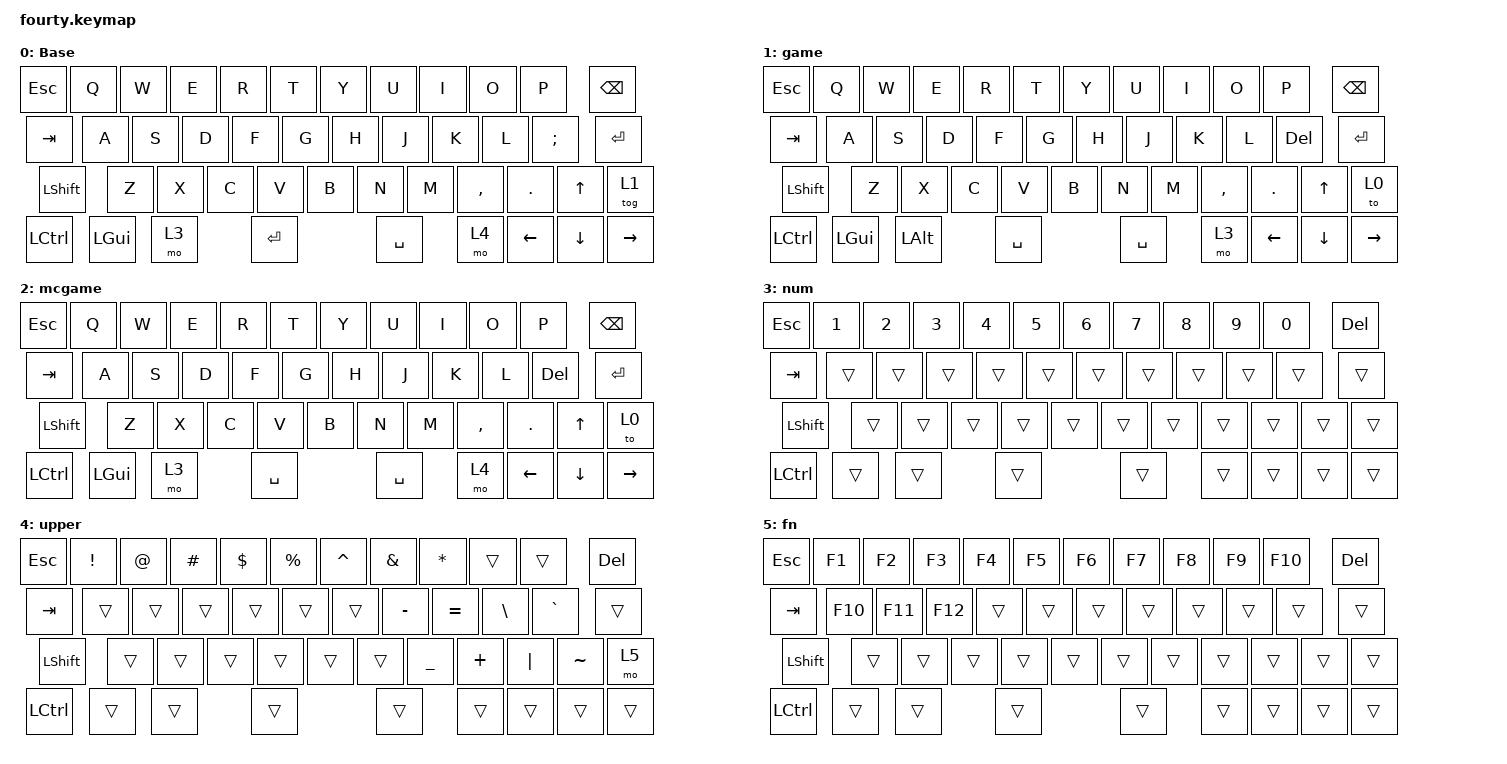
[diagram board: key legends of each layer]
#include <behaviors.dtsi>
#include <dt-bindings/zmk/keys.h>

/ {
    combos {
        compatible = "zmk,combos";

        slash-questionmark {
            bindings = <&kp SLASH>;
            key-positions = <33 32>;
            layers = <0 1 2>;
        };

        par1 {
            bindings = <&kp LEFT_PARENTHESIS>;
            key-positions = <3 4>;
            layers = <0 1>;
        };

        par2 {
            bindings = <&kp RIGHT_PARENTHESIS>;
            key-positions = <7 8>;
            layers = <0 1>;
        };

        bracket1 {
            bindings = <&kp LEFT_BRACKET>;
            key-positions = <16 15>;
            layers = <0 1>;
        };

        bracket2 {
            bindings = <&kp RIGHT_BRACKET>;
            key-positions = <19 20>;
            layers = <0 1>;
        };

        bracket3 {
            bindings = <&kp LEFT_BRACE>;
            key-positions = <28 27>;
            layers = <0>;
        };

        bracket4 {
            bindings = <&kp RIGHT_BRACE>;
            key-positions = <30 31>;
            layers = <0 1>;
        };

        quotes {
            bindings = <&kp SQT>;
            key-positions = <21 22>;
            layers = <0 1 2>;
        };

        mc-game {
            bindings = <&to 2>;
            key-positions = <33 35>;
            layers = <0>;
        };
    };

    keymap {
        compatible = "zmk,keymap";

        base {
            display-name = "Base";
            bindings = <
&kp ESC    &kp Q     &kp W  &kp E  &kp R      &kp T  &kp Y  &kp U      &kp I      &kp O     &kp P     &kp BACKSPACE
&kp TAB    &kp A     &kp S  &kp D  &kp F      &kp G  &kp H  &kp J      &kp K      &kp L     &kp SEMI  &kp ENTER
&kp LSHFT  &kp Z     &kp X  &kp C  &kp V      &kp B  &kp N  &kp M      &kp COMMA  &kp DOT   &kp UP    &tog 1
&kp LCTRL  &kp LGUI  &mo 3         &kp ENTER                &kp SPACE  &mo 4      &kp LEFT  &kp DOWN  &kp RIGHT
            >;
        };

        game {
            display-name = "game";
            bindings = <
&kp ESC    &kp Q     &kp W         &kp E  &kp R      &kp T  &kp Y  &kp U      &kp I      &kp O     &kp P     &kp BSPC
&kp TAB    &kp A     &kp S         &kp D  &kp F      &kp G  &kp H  &kp J      &kp K      &kp L     &kp DEL   &kp ENTER
&kp LSHFT  &kp Z     &kp X         &kp C  &kp V      &kp B  &kp N  &kp M      &kp COMMA  &kp DOT   &kp UP    &to 0
&kp LCTRL  &kp LGUI  &kp LEFT_ALT         &kp SPACE                &kp SPACE  &mo 3      &kp LEFT  &kp DOWN  &kp RIGHT
            >;
        };

        mc-game {
            display-name = "mcgame";
            bindings = <
&kp ESC    &kp Q     &kp W  &kp E  &kp R      &kp T  &kp Y  &kp U      &kp I      &kp O     &kp P     &kp BSPC
&kp TAB    &kp A     &kp S  &kp D  &kp F      &kp G  &kp H  &kp J      &kp K      &kp L     &kp DEL   &kp ENTER
&kp LSHFT  &kp Z     &kp X  &kp C  &kp V      &kp B  &kp N  &kp M      &kp COMMA  &kp DOT   &kp UP    &to 0
&kp LCTRL  &kp LGUI  &mo 3         &kp SPACE                &kp SPACE  &mo 4      &kp LEFT  &kp DOWN  &kp RIGHT
            >;
        };

        num {
            bindings = <
&kp ESC    &kp N1  &kp N2  &kp N3  &kp N4  &kp N5  &kp N6  &kp N7  &kp N8  &kp N9  &kp N0  &kp DEL
&kp TAB    &trans  &trans  &trans  &trans  &trans  &trans  &trans  &trans  &trans  &trans  &trans
&kp LSHFT  &trans  &trans  &trans  &trans  &trans  &trans  &trans  &trans  &trans  &trans  &trans
&kp LCTRL  &trans  &trans          &trans                  &trans  &trans  &trans  &trans  &trans
            >;
        };

        upper {
            bindings = <
&kp ESC    &kp EXCL  &kp AT  &kp HASH  &kp DOLLAR  &kp PERCENT  &kp CARET  &kp AMPS   &kp STAR   &trans    &trans     &kp DEL
&kp TAB    &trans    &trans  &trans    &trans      &trans       &trans     &kp MINUS  &kp EQUAL  &kp BSLH  &kp GRAVE  &trans
&kp LSHFT  &trans    &trans  &trans    &trans      &trans       &trans     &kp UNDER  &kp PLUS   &kp PIPE  &kp TILDE  &mo 5
&kp LCTRL  &trans    &trans            &trans                              &trans     &trans     &trans    &trans     &trans
            >;
        };

        fn {
            bindings = <
&kp ESC    &kp F1   &kp F2   &kp F3   &kp F4  &kp F5  &kp F6  &kp F7  &kp F8  &kp F9  &kp F10  &kp DEL
&kp TAB    &kp F10  &kp F11  &kp F12  &trans  &trans  &trans  &trans  &trans  &trans  &trans   &trans
&kp LSHFT  &trans   &trans   &trans   &trans  &trans  &trans  &trans  &trans  &trans  &trans   &trans
&kp LCTRL  &trans   &trans            &trans                  &trans  &trans  &trans  &trans   &trans
            >;
        };
    };
};
